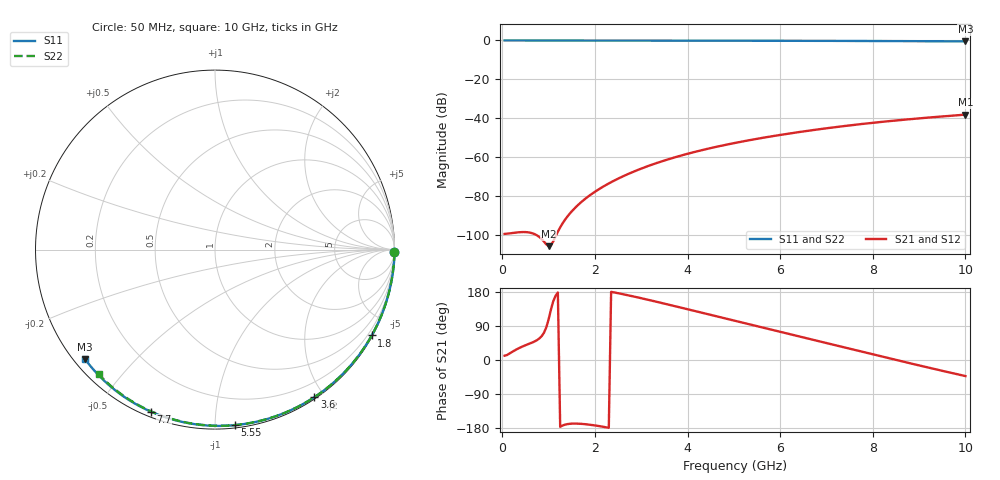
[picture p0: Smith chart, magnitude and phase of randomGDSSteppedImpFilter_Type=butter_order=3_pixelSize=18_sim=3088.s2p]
! freq	dB(S11)	phase(S11)	dB(S12)	phase(S12)
!  dB(S21)	phase(S21)	dB(S22)	phase(S22)
!S-par simulation data
#  GHz  S  DB  R 50
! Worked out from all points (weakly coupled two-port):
!   200 points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, 50 MHz to 10 GHz, reference 50 ohm
!   highest |S21| = -38.05 dB at 10 GHz (marker M1); lowest = -105.5 dB at 1 GHz (marker M2)
!   lowest |S11| = -0.5 dB at 10 GHz (marker M3), VSWR 36.66, Z = 1.54 - j18.2 ohm
!   |S11| at or under -10 dB: nowhere
!   |S22| runs from -0.4 to 0.0 dB; largest |S21 - S12| = 0
!   S11 on the Smith chart (normalised r, x): 50 MHz: open; 1.8 GHz: 0.03, -3.91; 3.6 GHz: 0.02, -1.88; 5.55 GHz: 0.02, -1.12; 7.7 GHz: 0.02, -0.68; 10 GHz: 0.03, -0.36
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0.05  -0.00 -0.8  -99.24 11.4  -99.24 11.4  -0.00 -0.8
0.5  -0.01 -8.1  -98.30 38.9  -98.30 38.9  -0.01 -7.7
1  -0.02 -16.1  -105.53 107.1  -105.53 107.1  -0.02 -15.3
1.75  -0.04 -27.9  -82.01 -168.9  -82.01 -168.9  -0.03 -26.5
1.8  -0.04 -28.7  -81.05 -169.5  -81.05 -169.5  -0.03 -27.3
1.85  -0.04 -29.5  -80.14 -170.2  -80.14 -170.2  -0.04 -28.0
2.15  -0.04 -34.2  -75.38 -175.6  -75.38 -175.6  -0.04 -32.5
2.35  -0.05 -37.3  -72.70 179.9  -72.70 179.9  -0.05 -35.4
2.55  -0.05 -40.3  -70.31 175.1  -70.31 175.1  -0.05 -38.3
2.95  -0.06 -46.4  -66.20 164.5  -66.20 164.5  -0.06 -44.1
3.4  -0.07 -53.1  -62.35 151.7  -62.35 151.7  -0.07 -50.5
3.6  -0.08 -56.1  -60.85 145.9  -60.85 145.9  -0.07 -53.3
3.9  -0.08 -60.5  -58.78 137.0  -58.78 137.0  -0.08 -57.5
4.3  -0.09 -66.2  -56.33 125.0  -56.33 125.0  -0.09 -63.0
5.05  -0.12 -76.8  -52.45 102.5  -52.45 102.5  -0.11 -73.1
5.55  -0.14 -83.6  -50.25 87.7  -50.25 87.7  -0.13 -79.6
6.1  -0.16 -91.0  -48.10 71.4  -48.10 71.4  -0.15 -86.6
6.7  -0.19 -98.9  -46.01 53.6  -46.01 53.6  -0.18 -94.1
7.7  -0.26 -111.6  -43.03 23.9  -43.03 23.9  -0.24 -106.3
8.35  -0.31 -119.7  -41.39 4.7  -41.39 4.7  -0.29 -114.0
9.2  -0.39 -130.2  -39.56 -20.0  -39.56 -20.0  -0.36 -123.8
10  -0.47 -140.0  -38.05 -42.4  -38.05 -42.4  -0.45 -133.0
